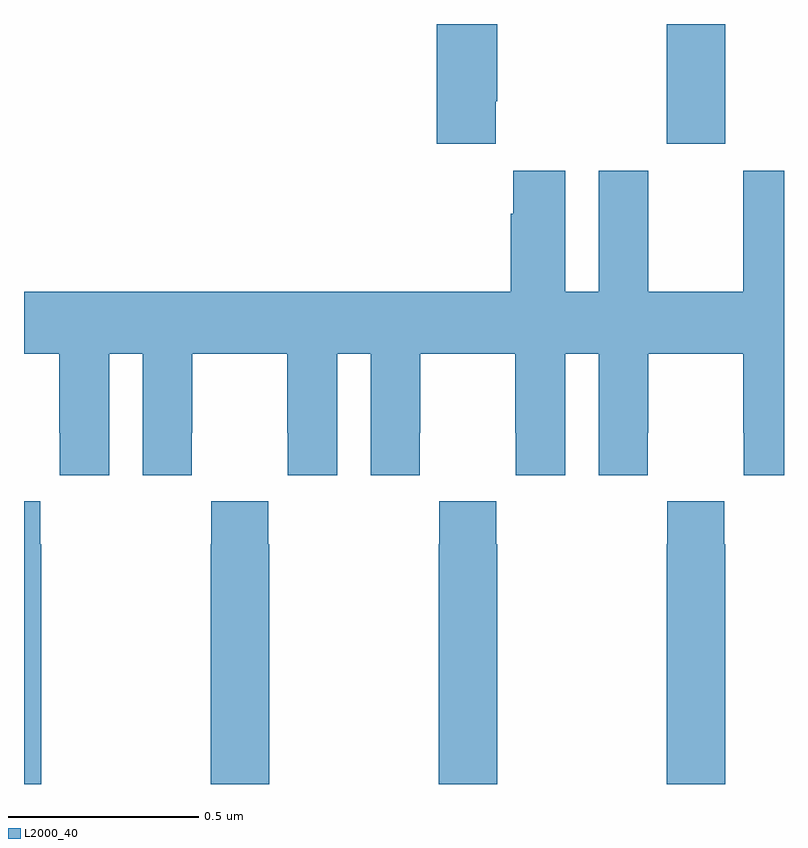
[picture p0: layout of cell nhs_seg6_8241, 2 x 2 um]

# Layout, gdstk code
import gdstk
lib = gdstk.Library(unit=1e-6, precision=1e-09)
def R(c, l, rs):  # rectangles x0, y0, x1, y1
    for r in rs: c.add(gdstk.rectangle(r[:2], r[2:], *l))
def P(c, l, *ps):  # polygons
    for p in ps: c.add(gdstk.Polygon(p, *l))
L2000_40 = (2000, 40)

nhs_seg6_8241 = lib.new_cell('nhs_seg6_8241')
R(nhs_seg6_8241, L2000_40, [(219.691,985.185,219.846,985.5)])
P(nhs_seg6_8241, L2000_40, [(219.241,985.297),(219.246,985.297),(219.246,985.5),(219.086,985.5),(219.086,985.185),(219.241,985.185)],
  [(218,984.632),(218.093,984.632),(218.093,984.424),(218.094,984.424),(218.094,984.312),(218.224,984.312),(218.224,984.632),(218.312,984.632),(218.312,984.312),(218.442,984.312),(218.442,984.424),(218.443,984.424),(218.443,984.632),(218.693,984.632),(218.693,984.424),(218.694,984.424),(218.694,984.312),(218.824,984.312),(218.824,984.632),(218.912,984.632),(218.912,984.312),(219.042,984.312),(219.042,984.424),(219.043,984.424),(219.043,984.632),(219.293,984.632),(219.293,984.424),(219.294,984.424),(219.294,984.312),(219.424,984.312),(219.424,984.632),(219.512,984.632),(219.512,984.312),(219.642,984.312),(219.642,984.424),(219.643,984.424),(219.643,984.632),(219.893,984.632),(219.893,984.424),(219.894,984.424),(219.894,984.312),(220,984.312),(220,985.114),(219.893,985.114),(219.893,984.796),(219.643,984.796),(219.643,985.114),(219.512,985.114),(219.512,984.796),(219.424,984.796),(219.424,985.114),(219.287,985.114),(219.287,985.001),(219.281,985.001),(219.281,984.796),(218,984.796)],
  [(219.846,984.131),(219.843,984.131),(219.843,984.244),(219.693,984.244),(219.693,984.131),(219.691,984.131),(219.691,983.5),(219.846,983.5)],
  [(218.646,984.131),(218.643,984.131),(218.643,984.244),(218.493,984.244),(218.493,984.131),(218.491,984.131),(218.491,983.5),(218.646,983.5)],
  [(219.246,984.131),(219.243,984.131),(219.243,984.244),(219.093,984.244),(219.093,984.131),(219.091,984.131),(219.091,983.5),(219.246,983.5)],
  [(218.046,984.131),(218.043,984.131),(218.043,984.244),(218,984.244),(218,983.5),(218.046,983.5)])

lib.write_gds('nhs_seg6_8241.gds')
